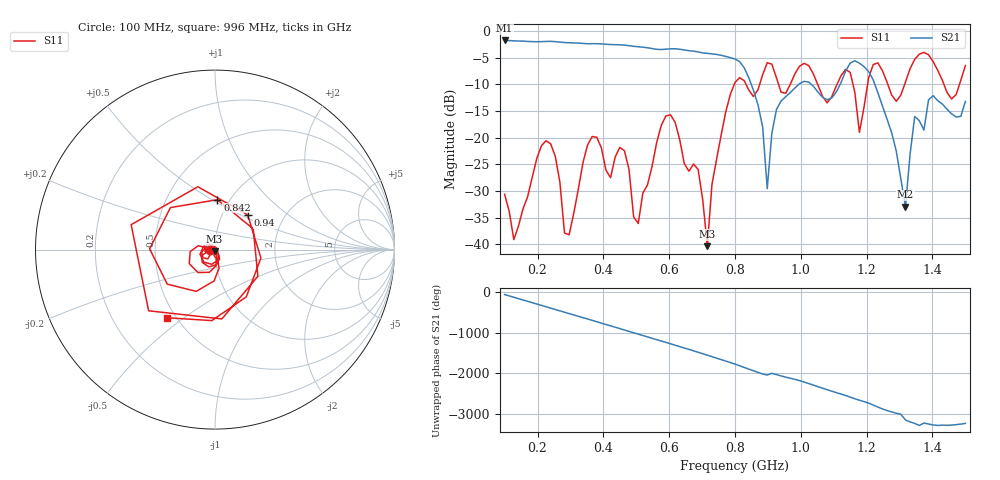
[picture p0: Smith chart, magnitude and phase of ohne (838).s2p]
! NanoVNA-App
! Date: 2025-09-25 14:27:19
! Start: 100MHz Stop: 1,5GHz Points: 101
! S-Parameter data: F S11 S21 S12 S22
# Hz S RI R 50
!  Frequency  S11_Real  S11_Imag  S21_Real  S21_Imag  S12_Real  S12_Imag  S22_Real  S22_Imag
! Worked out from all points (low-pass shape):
!   101 points, 100 MHz to 1.5 GHz, reference 50 ohm
!   highest |S21| = -1.79 dB at 100 MHz (marker M1); lowest = -33.0 dB at 1.318 GHz (marker M2)
!   |S21| within 3 dB of the highest: start of sweep to 771.8 MHz
!   lowest |S11| = -40.4 dB at 716 MHz (marker M3), VSWR 1.02, Z = 49.7 - j0.916 ohm
!   |S11| at or under -10 dB: start of sweep to 797.9 MHz; 833.3 MHz to 875.1 MHz (41.81 MHz wide, 4.89 % of centre); 1.051 GHz to 1.11 GHz (59.17 MHz wide, 5.48 % of centre) (the widest 3 of 7)
!   S12 and S22 are empty: the file has one direction only
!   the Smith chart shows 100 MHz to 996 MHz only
!   S11 on the Smith chart (normalised r, x): 100 MHz: 0.94, -0.01; 842 MHz: 0.88, +0.53; 940 MHz: 1.32, +0.55; 996 MHz: 0.45, -0.43
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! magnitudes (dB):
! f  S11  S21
! 100 MHz  -30.6  -1.8
! 128 MHz  -39.1  -1.9
! 226 MHz  -20.6  -2.0
! 296 MHz  -38.2  -2.2
! 338 MHz  -24.7  -2.4
! 464 MHz  -22.5  -2.7
! 506 MHz  -36.1  -3.0
! 576 MHz  -17.7  -3.5
! 688 MHz  -26.0  -3.9
! 716 MHz  -40.4  -4.2
! 800 MHz  -9.7  -5.3
! 842 MHz  -11.1  -8.8
! 898 MHz  -6.0  -29.6
! 940 MHz  -11.5  -13.2
! 996 MHz  -6.6  -9.9
! 1.038 GHz  -8.1  -10.4
! 1.178 GHz  -19.0  -6.0
! 1.22 GHz  -6.3  -9.2
! 1.276 GHz  -12.0  -19.1
! 1.318 GHz  -9.6  -33.0
! 1.346 GHz  -5.3  -16.1
! 1.5 GHz  -6.5  -13.2
